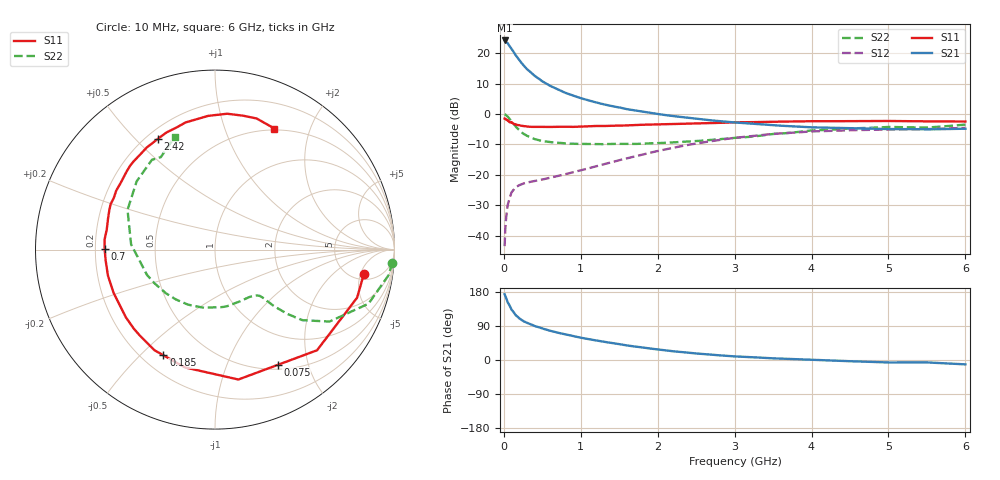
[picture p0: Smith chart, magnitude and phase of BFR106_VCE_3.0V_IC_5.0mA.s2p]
! Infineon Technologies  Discrete & RF Semiconductors
! BFR106
! VCE =  3.0 V,  IC =  5.0 mA
! Common Emitter S-Parameters:  Nov 2015
# GHz  S  MA  R  50
!  f  S11  S21  S12  S22
! GHz  MAG  ANG  MAG  ANG  MAG  ANG  MAG  ANG
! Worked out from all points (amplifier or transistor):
!   210 points, 10 MHz to 6 GHz, reference 50 ohm
!   highest |S21| = 24.2 dB at 10 MHz (marker M1)
!   |S21| within 3 dB of that: start of sweep to 107.7 MHz
!   unconditionally stable (mu >= 1): 613.4 MHz to 2.076 GHz; 4.507 GHz to end of sweep
!   at 185 MHz: K = 0.39, MSG = 21.0 dB, |S12| = -23.6 dB
!   at 1.52 GHz: K = 1.13, MAG = 6.4 dB, |S12| = -15.1 dB
!   at 6 GHz: K = 1.02, MAG = -1.1 dB, |S12| = -4.6 dB
!   S11 on the Smith chart (normalised r, x): 10 MHz: 6.11, -5.71; 75 MHz: 0.56, -1.54; 185 MHz: 0.28, -0.59; 700 MHz: 0.24, +0.00; 2.42 GHz: 0.24, +0.58; 6 GHz: 0.48, +1.50
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0.01  0.8404 -9.4  16.16 173.6  0.0067 86.8  0.9906 -4.2
0.02  0.8358 -18.7  15.87 168.6  0.0136 82.8  0.9775 -8.4
0.05  0.7987 -44.6  14.54 152.3  0.0317 67.1  0.9069 -19.4
0.075  0.7312 -61.5  13.02 143.6  0.0412 58.8  0.8253 -25.2
0.1  0.7354 -79.8  11.86 133.0  0.0513 53.7  0.7538 -32.1
0.15  0.6775 -104.4  9.388 118.9  0.0618 44.0  0.6264 -38.9
0.185  0.6552 -116.0  8.188 113.1  0.0657 41.3  0.5663 -40.7
0.2  0.6542 -121.1  7.706 110.0  0.0674 40.2  0.5407 -41.6
0.24  0.6359 -131.4  6.65 104.5  0.0707 38.3  0.4888 -42.9
0.26  0.6313 -135.8  6.208 101.9  0.0721 37.8  0.4684 -43.4
0.3  0.6237 -142.8  5.465 97.8  0.0745 37.5  0.4385 -44.1
0.4  0.6144 -156.9  4.243 89.7  0.0791 37.9  0.3862 -44.9
0.5  0.6138 -166.3  3.439 83.0  0.0836 40.2  0.3581 -46.0
0.7  0.615 179.8  2.528 72.0  0.0953 45.7  0.3361 -50.6
1.02  0.6207 163.7  1.788 58.2  0.1202 54.0  0.3214 -60.6
1.4  0.6409 149.2  1.347 45.1  0.1604 59.1  0.3222 -76.4
2.02  0.6725 129.1  0.99 27.5  0.2491 58.2  0.3323 -107.0
2.42  0.6943 117.4  0.858 18.6  0.3141 53.7  0.3537 -129.1
3.1  0.7291 100.9  0.71 8.6  0.4165 41.7  0.4109 -164.9
4.1  0.7596 83.6  0.599 -0.1  0.5199 22.4  0.5402 152.1
5.1  0.7639 71.4  0.564 -6.5  0.557 6.8  0.6081 124.2
6  0.7508 63.8  0.572 -11.5  0.5897 -3.9  0.6682 109.5
